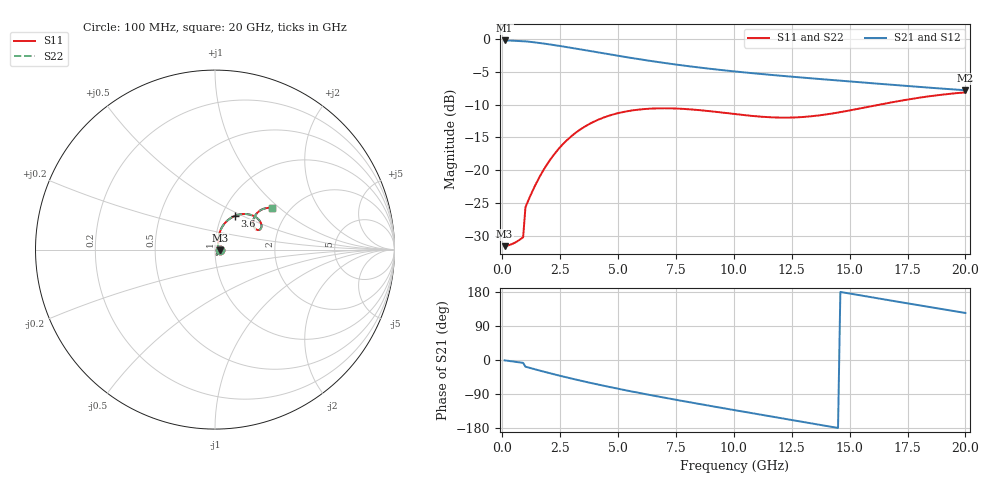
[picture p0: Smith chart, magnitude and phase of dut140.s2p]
! Created with skrf 1.9.0 (http://scikit-rf.org).
# GHz S RI R 50.0
!freq ReS11 ImS11 ReS21 ImS21 ReS12 ImS12 ReS22 ImS22
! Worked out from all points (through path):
!   200 points, 100 MHz to 20 GHz, reference 50 ohm
!   highest |S21| = -0.23 dB at 100 MHz (marker M1); lowest = -7.8 dB at 20 GHz (marker M2)
!   group delay of S21, straight-line fit = 31.5 ps
!   lowest |S11| = -31.6 dB at 100 MHz (marker M3), VSWR 1.05, Z = 52.7 - j0.367 ohm
!   |S11| at or under -10 dB: start of sweep to 16.31 GHz
!   |S22| runs from -31.6 to -8.1 dB; largest |S21 - S12| = 2.9e-15
!   S11 on the Smith chart (normalised r, x): 100 MHz: 1.05, -0.01; 3.6 GHz: 1.15, +0.45; 20 GHz: 1.63, +0.89
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0.1  0.0261 -0.00348  0.9733 -0.0151  0.9733 -0.0151  0.0261 -0.00348
0.5  0.021 -0.0182  0.966 -0.0729  0.966 -0.0729  0.021 -0.0182
0.9  0.00962 -0.0293  0.9508 -0.1266  0.9508 -0.1266  0.00962 -0.0293
1  0.0194 0.0484  0.9133 -0.2904  0.9133 -0.2904  0.0194 0.0484
1.6  0.0234 0.0851  0.8253 -0.4327  0.8253 -0.4327  0.0234 0.0851
2  0.032 0.1109  0.7546 -0.5103  0.7546 -0.5103  0.032 0.1109
2.5  0.05 0.1413  0.6587 -0.5879  0.6587 -0.5879  0.05 0.1413
3  0.0746 0.1665  0.559 -0.6456  0.559 -0.6456  0.0746 0.1665
3.5  0.1032 0.1845  0.4594 -0.6855  0.4594 -0.6855  0.1032 0.1845
3.6  0.1092 0.1872  0.4397 -0.6915  0.4397 -0.6915  0.1092 0.1872
4.3  0.1507 0.1979  0.306 -0.718  0.306 -0.718  0.1507 0.1979
5  0.1882 0.1962  0.1821 -0.7214  0.1821 -0.7214  0.1882 0.1962
5.8  0.2219 0.1839  0.0546 -0.7037  0.0546 -0.7037  0.2219 0.1839
6.8  0.2484 0.161  -0.0829 -0.6585  -0.0829 -0.6585  0.2484 0.161
8.4  0.2589 0.126  -0.2561 -0.5522  -0.2561 -0.5522  0.2589 0.126
10.1  0.2436 0.109  -0.3848 -0.412  -0.3848 -0.412  0.2436 0.109
11.7  0.2234 0.1174  -0.4588 -0.2657  -0.4588 -0.2657  0.2234 0.1174
13.4  0.2122 0.1467  -0.4887 -0.1056  -0.4887 -0.1056  0.2122 0.1467
15  0.2195 0.1819  -0.4729 0.038  -0.4729 0.038  0.2195 0.1819
16.7  0.2458 0.2139  -0.4155 0.1703  -0.4155 0.1703  0.2458 0.2139
18.4  0.2826 0.2306  -0.3275 0.272  -0.3275 0.272  0.2826 0.2306
20  0.3166 0.2305  -0.2281 0.3362  -0.2281 0.3362  0.3166 0.2305
